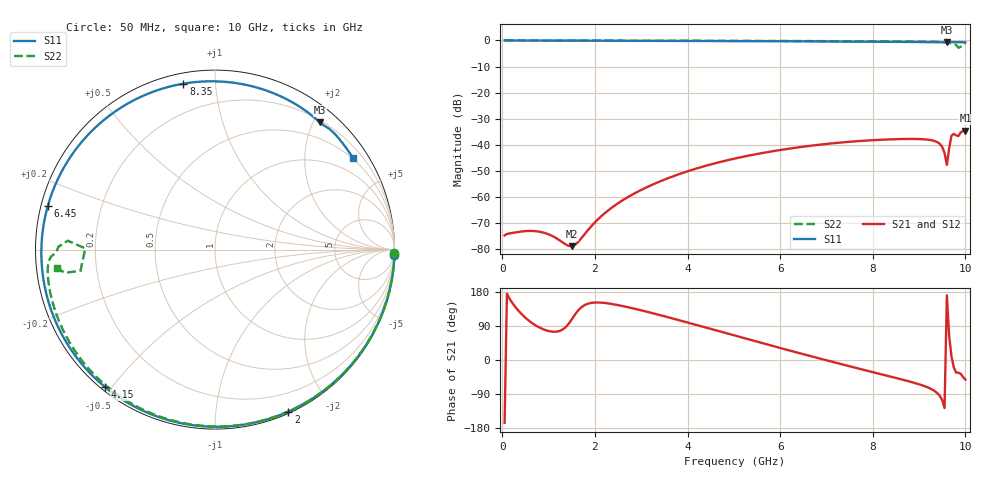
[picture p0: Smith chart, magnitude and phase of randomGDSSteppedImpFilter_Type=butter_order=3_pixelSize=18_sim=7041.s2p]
! freq	dB(S11)	phase(S11)	dB(S12)	phase(S12)
!  dB(S21)	phase(S21)	dB(S22)	phase(S22)
!S-par simulation data
#  GHz  S  DB  R 50
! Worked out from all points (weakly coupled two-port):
!   200 points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, 50 MHz to 10 GHz, reference 50 ohm
!   highest |S21| = -34.67 dB at 10 GHz (marker M1); lowest = -78.9 dB at 1.5 GHz (marker M2)
!   lowest |S11| = -0.7 dB at 9.6 GHz (marker M3), VSWR 23.34, Z = 11.7 + j105 ohm
!   |S11| at or under -10 dB: nowhere
!   |S22| runs from -2.8 to 0.0 dB; largest |S21 - S12| = 0
!   S11 on the Smith chart (normalised r, x): 50 MHz: 0, -67; 2 GHz: 0.02, -1.55; 4.15 GHz: 0.01, -0.48; 6.45 GHz: 0.02, +0.13; 8.35 GHz: 0.05, +0.83; 10 GHz: 0.48, +3.27
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0.05  -0.00 -1.7  -74.81 -165.8  -74.81 -165.8  -0.00 -1.1
0.8  -0.03 -27.0  -73.37 85.8  -73.37 85.8  -0.02 -17.0
1.5  -0.06 -49.8  -78.93 107.2  -78.93 107.2  -0.04 -31.5
1.75  -0.07 -57.8  -74.96 142.8  -74.96 142.8  -0.05 -36.6
2  -0.08 -65.6  -69.79 151.6  -69.79 151.6  -0.05 -41.7
2.6  -0.10 -84.0  -61.31 142.3  -61.31 142.3  -0.07 -53.6
3.4  -0.14 -107.5  -54.12 118.6  -54.12 118.6  -0.09 -69.0
4.15  -0.17 -128.8  -49.36 93.9  -49.36 93.9  -0.11 -82.9
5.05  -0.22 -153.9  -45.19 63.4  -45.19 63.4  -0.15 -98.8
5.75  -0.27 -173.8  -42.77 39.9  -42.77 39.9  -0.18 -110.7
6.45  -0.33 165.4  -40.87 17.0  -40.87 17.0  -0.23 -122.4
6.7  -0.35 157.7  -40.31 8.9  -40.31 8.9  -0.24 -126.5
7.5  -0.43 131.6  -38.87 -16.6  -38.87 -16.6  -0.30 -139.5
8.35  -0.53 100.8  -37.97 -42.8  -37.97 -42.8  -0.38 -153.3
8.85  -0.59 81.2  -37.79 -58.6  -37.79 -58.6  -0.43 -161.8
9.35  -0.67 60.7  -38.68 -83.1  -38.68 -83.1  -0.51 -171.1
9.5  -0.71 54.5  -40.86 -106.1  -40.86 -106.1  -0.59 -174.7
9.6  -0.74 50.6  -47.74 170.6  -47.74 170.6  -0.78 -177.6
9.7  -0.66 46.7  -36.53 9.2  -36.53 9.2  -1.07 -179.2
9.85  -0.67 39.8  -36.66 -33.4  -36.66 -33.4  -2.82 179.5
9.9  -0.68 37.6  -35.29 -36.5  -35.29 -36.5  -2.40 -171.1
10  -0.70 33.4  -34.67 -51.6  -34.67 -51.6  -1.03 -173.5
